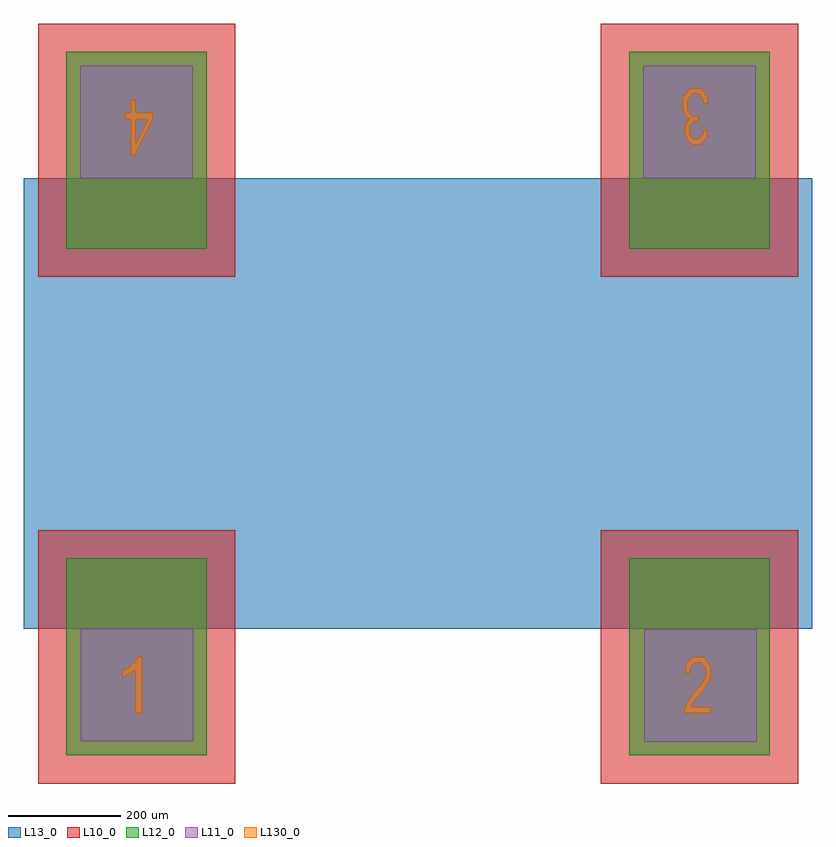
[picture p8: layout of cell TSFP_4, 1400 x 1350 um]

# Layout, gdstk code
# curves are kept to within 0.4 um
import gdstk
lib = gdstk.Library(unit=1e-6, precision=1e-09)
def R(c, l, rs):  # rectangles x0, y0, x1, y1
    for r in rs: c.add(gdstk.rectangle(r[:2], r[2:], *l))
def P(c, l, *ps):  # polygons
    for p in ps: c.add(gdstk.Polygon(p, *l))
L10_0 = (10, 0)
L11_0 = (11, 0)
L12_0 = (12, 0)
L13_0 = (13, 0)
L130_0 = (130, 0)

tsfp_4 = lib.new_cell('TSFP_4')
R(tsfp_4, L10_0, [(-675,-675,-325,-225), (325,-675,675,-225), (-675,225,-325,675), (325,225,675,675)])
R(tsfp_4, L11_0, [(402,-601,602,-401), (-599,-600,-399,-400), (-600,400,-400,600), (400,400,600,600)])
R(tsfp_4, L12_0, [(-625,-625,-375,-275), (375,-625,625,-275), (-625,275,-375,625), (375,275,625,625)])
R(tsfp_4, L13_0, [(-700,-400,700,400)])
P(tsfp_4, L130_0, [(-510.303,540),(-510.303,516.057),(-519.78,516.057),(-519.78,504.802),(-510.303,504.802),(-510.303,440),(-503.266,440),(-471.245,504.802),(-471.245,516.057),(-501.687,516.057),(-501.687,504.802),(-479.717,504.802),(-501.687,459.714),(-501.687,540)],
  [(485.064,-538.247),(486.513,-534.918),(490.955,-528.329),(508.144,-507.948),(516.207,-495.177),(519.684,-483.628),(519.684,-465.897),(507.806,-450),(487.527,-450),(475.553,-464.742),(474.635,-478.804),(483.568,-480.095),(483.616,-470.72),(491.148,-460.122),(503.364,-460.122),(510.751,-470.109),(510.751,-484.307),(502.639,-499.864),(483.664,-521.739),(475.794,-534.783),(472.897,-545.584),(472.994,-550),(519.78,-550),(519.78,-538.247)],
  [(515.051,544.646),(502.915,560),(483.545,560),(470.22,542.176),(470.22,519.88),(477.073,507.263),(483.26,505.26),(478.501,502.189),(473.647,491.776),(473.647,478.758),(478.739,466.876),(488.352,460),(502.344,460),(513.48,473.284),(515.051,485.367),(506.484,487.503),(505.532,478.692),(498.87,469.88),(488.828,469.88),(482.451,478.558),(482.451,493.511),(491.208,501.522),(498.061,501.389),(499.012,511.936),(495.395,510.601),(487.02,510.601),(479.31,521.349),(479.31,538.304),(487.638,550.053),(498.774,550.053),(505.866,541.041),(507.341,530.828),(515.907,532.43)],
  [(-490.22,-450),(-497.788,-450),(-500.855,-456.454),(-515.599,-470.177),(-525.451,-475),(-525.451,-486.821),(-519.97,-484.715),(-506.204,-476.291),(-501.964,-472.079),(-501.964,-550),(-490.22,-550)])

lib.write_gds('TSFP_4.gds')
